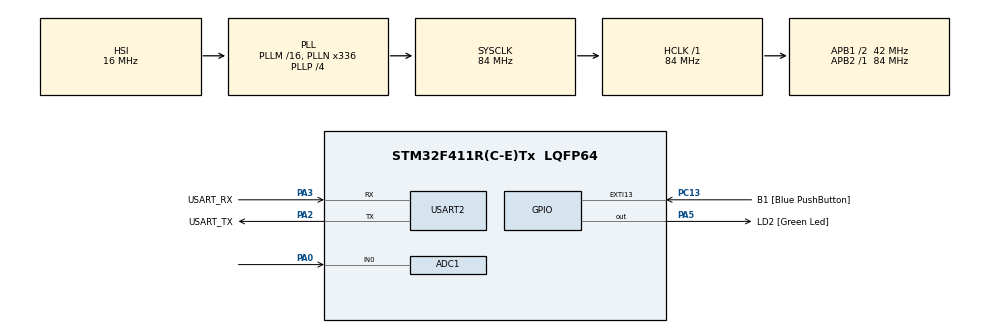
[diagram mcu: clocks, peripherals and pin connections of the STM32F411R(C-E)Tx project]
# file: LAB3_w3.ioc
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ADC1.Channel-0\#ChannelRegularConversion=ADC_CHANNEL_0
ADC1.NbrOfConversionFlag=1
ADC1.Rank-0\#ChannelRegularConversion=1
ADC1.SamplingTime-0\#ChannelRegularConversion=ADC_SAMPLETIME_3CYCLES
ADC1.master=1
Mcu.Family=STM32F4
Mcu.Name=STM32F411R(C-E)Tx
Mcu.Package=LQFP64
NVIC.PriorityGroup=NVIC_PRIORITYGROUP_0
PA0-WKUP.Signal=ADCx_IN0
PA13.GPIO_Label=TMS
PA13.Mode=Serial_Wire
PA13.Signal=SYS_JTMS-SWDIO
PA14.GPIO_Label=TCK
PA14.Mode=Serial_Wire
PA14.Signal=SYS_JTCK-SWCLK
PA2.GPIO_Label=USART_TX
PA2.Mode=Asynchronous
PA2.Signal=USART2_TX
PA3.GPIO_Label=USART_RX
PA3.Mode=Asynchronous
PA3.Signal=USART2_RX
PA5.GPIO_Label=LD2 [Green Led]
PA5.Signal=GPIO_Output
PB3.GPIO_Label=SWO
PB3.Signal=SYS_JTDO-SWO
PC13-ANTI_TAMP.GPIO_Label=B1 [Blue PushButton]
PC13-ANTI_TAMP.GPIO_ModeDefaultEXTI=GPIO_MODE_IT_FALLING
PC13-ANTI_TAMP.Signal=GPXTI13
PC14-OSC32_IN.Mode=LSE-External-Oscillator
PC14-OSC32_IN.Signal=RCC_OSC32_IN
PC15-OSC32_OUT.Mode=LSE-External-Oscillator
PC15-OSC32_OUT.Signal=RCC_OSC32_OUT
PH0\ -\ OSC_IN.Mode=HSE-External-Clock-Source
PH0\ -\ OSC_IN.Signal=RCC_OSC_IN
PH1\ -\ OSC_OUT.Mode=HSE-External-Clock-Source
PH1\ -\ OSC_OUT.Signal=RCC_OSC_OUT
ProjectManager.HeapSize=0x200
ProjectManager.StackSize=0x400
ProjectManager.TargetToolchain=STM32CubeIDE
RCC.48MHZClocksFreq_Value=84000000
RCC.AHBFreq_Value=84000000
RCC.APB1CLKDivider=RCC_HCLK_DIV2
RCC.APB1Freq_Value=42000000
RCC.APB1TimFreq_Value=84000000
RCC.APB2Freq_Value=84000000
RCC.APB2TimFreq_Value=84000000
RCC.CortexFreq_Value=84000000
RCC.FLatency-AdvancedSettings=FLASH_LATENCY_2
RCC.HCLKFreq_Value=84000000
RCC.HSE_VALUE=8000000
RCC.HSI_VALUE=16000000
RCC.PLLN=336
RCC.PLLP=RCC_PLLP_DIV4
RCC.SYSCLKFreq_VALUE=84000000
RCC.SYSCLKSource=RCC_SYSCLKSOURCE_PLLCLK
RCC.VCOOutputFreq_Value=336000000
SH.ADCx_IN0.0=ADC1_IN0,IN0
USART2.VirtualMode=VM_ASYNC
VP_ADC1_TempSens_Input.Mode=IN-TempSens
board=NUCLEO-F411RE

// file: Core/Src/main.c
/* USER CODE BEGIN Header */
/**
 ******************************************************************************
 * @file           : main.c
 * @brief          : Main program body
 ******************************************************************************
 * @attention
 *
 * <h2><center>&copy; Copyright (c) 2021 STMicroelectronics.
 * All rights reserved.</center></h2>
 *
 * This software component is licensed by ST under BSD 3-Clause license,
 * the "License"; You may not use this file except in compliance with the
 * License. You may obtain a copy of the License at:
 *                        opensource.org/licenses/BSD-3-Clause
 *
 ******************************************************************************
 */
/* USER CODE END Header */
#include "main.h"

ADC_HandleTypeDef hadc1;

UART_HandleTypeDef huart2;

/* USER CODE BEGIN PV */
uint32_t adcdata[2] = { 0 };
int ADCMODE =0;
float tp;
float temperature;
float ADCOutputConverted ;
typedef struct {
	ADC_ChannelConfTypeDef Config;
	uint32_t data;
} ADCStructure;

ADCStructure ADCChannel[2] = { 0 };
/* USER CODE END PV */

void SystemClock_Config(void);
static void MX_GPIO_Init(void);
static void MX_USART2_UART_Init(void);
static void MX_ADC1_Init(void);
/* USER CODE BEGIN PFP */
void ADCPollingMethodInit();
void ADCPollingMethodUpdate();
/* USER CODE END PFP */

int main(void)
{

  /* MCU Configuration--------------------------------------------------------*/

  /* Reset of all peripherals, Initializes the Flash interface and the Systick. */
  HAL_Init();

  /* Configure the system clock */
  SystemClock_Config();

  /* Initialize all configured peripherals */
  MX_GPIO_Init();
  MX_USART2_UART_Init();
  MX_ADC1_Init();
  /* USER CODE BEGIN 2 */
  	GPIO_PinState State[2];
	ADCPollingMethodInit();

  /* USER CODE END 2 */

  /* Infinite loop */
	while (1) {

    /* USER CODE BEGIN 3 */
		ADCPollingMethodUpdate();
		State[0] = HAL_GPIO_ReadPin(GPIOC, GPIO_PIN_13);
				if (State[1] == GPIO_PIN_SET && State[0] == GPIO_PIN_RESET) {
				   if(ADCMODE == 0){
					   ADCMODE = 1;
				   }else{
					   ADCMODE = 0;
				   }
			}State[1] = State[0];
		if(ADCMODE==0){
			ADCOutputConverted = ADCChannel[0].data*0.805;
		}else{
			tp = ADCChannel[1].data*0.805;
			temperature = ((tp-760)/2.5)+25;
			ADCOutputConverted = temperature;
		}
	}
  /* USER CODE END 3 */
}

void SystemClock_Config(void)
{
  RCC_OscInitTypeDef RCC_OscInitStruct = {0};
  RCC_ClkInitTypeDef RCC_ClkInitStruct = {0};

  /** Configure the main internal regulator output voltage
  */
  __HAL_RCC_PWR_CLK_ENABLE();
  __HAL_PWR_VOLTAGESCALING_CONFIG(PWR_REGULATOR_VOLTAGE_SCALE1);
  /** Initializes the RCC Oscillators according to the specified parameters
  * in the RCC_OscInitTypeDef structure.
  */
  RCC_OscInitStruct.OscillatorType = RCC_OSCILLATORTYPE_HSI;
  RCC_OscInitStruct.HSIState = RCC_HSI_ON;
  RCC_OscInitStruct.HSICalibrationValue = RCC_HSICALIBRATION_DEFAULT;
  RCC_OscInitStruct.PLL.PLLState = RCC_PLL_ON;
  RCC_OscInitStruct.PLL.PLLSource = RCC_PLLSOURCE_HSI;
  RCC_OscInitStruct.PLL.PLLM = 16;
  RCC_OscInitStruct.PLL.PLLN = 336;
  RCC_OscInitStruct.PLL.PLLP = RCC_PLLP_DIV4;
  RCC_OscInitStruct.PLL.PLLQ = 4;
  if (HAL_RCC_OscConfig(&RCC_OscInitStruct) != HAL_OK)
  {
    Error_Handler();
  }
  /** Initializes the CPU, AHB and APB buses clocks
  */
  RCC_ClkInitStruct.ClockType = RCC_CLOCKTYPE_HCLK|RCC_CLOCKTYPE_SYSCLK
                              |RCC_CLOCKTYPE_PCLK1|RCC_CLOCKTYPE_PCLK2;
  RCC_ClkInitStruct.SYSCLKSource = RCC_SYSCLKSOURCE_PLLCLK;
  RCC_ClkInitStruct.AHBCLKDivider = RCC_SYSCLK_DIV1;
  RCC_ClkInitStruct.APB1CLKDivider = RCC_HCLK_DIV2;
  RCC_ClkInitStruct.APB2CLKDivider = RCC_HCLK_DIV1;

  if (HAL_RCC_ClockConfig(&RCC_ClkInitStruct, FLASH_LATENCY_2) != HAL_OK)
  {
    Error_Handler();
  }
}

static void MX_ADC1_Init(void)
{

  ADC_ChannelConfTypeDef sConfig = {0};

  /** Configure the global features of the ADC (Clock, Resolution, Data Alignment and number of conversion)
  */
  hadc1.Instance = ADC1;
  hadc1.Init.ClockPrescaler = ADC_CLOCK_SYNC_PCLK_DIV4;
  hadc1.Init.Resolution = ADC_RESOLUTION_12B;
  hadc1.Init.ScanConvMode = DISABLE;
  hadc1.Init.ContinuousConvMode = DISABLE;
  hadc1.Init.DiscontinuousConvMode = DISABLE;
  hadc1.Init.ExternalTrigConvEdge = ADC_EXTERNALTRIGCONVEDGE_NONE;
  hadc1.Init.ExternalTrigConv = ADC_SOFTWARE_START;
  hadc1.Init.DataAlign = ADC_DATAALIGN_RIGHT;
  hadc1.Init.NbrOfConversion = 1;
  hadc1.Init.DMAContinuousRequests = DISABLE;
  hadc1.Init.EOCSelection = ADC_EOC_SINGLE_CONV;
  if (HAL_ADC_Init(&hadc1) != HAL_OK)
  {
    Error_Handler();
  }
  /** Configure for the selected ADC regular channel its corresponding rank in the sequencer and its sample time.
  */
  sConfig.Channel = ADC_CHANNEL_TEMPSENSOR;
  sConfig.Rank = 1;
  sConfig.SamplingTime = ADC_SAMPLETIME_3CYCLES;
  if (HAL_ADC_ConfigChannel(&hadc1, &sConfig) != HAL_OK)
  {
    Error_Handler();
  }

}

static void MX_USART2_UART_Init(void)
{

  huart2.Instance = USART2;
  huart2.Init.BaudRate = 115200;
  huart2.Init.WordLength = UART_WORDLENGTH_8B;
  huart2.Init.StopBits = UART_STOPBITS_1;
  huart2.Init.Parity = UART_PARITY_NONE;
  huart2.Init.Mode = UART_MODE_TX_RX;
  huart2.Init.HwFlowCtl = UART_HWCONTROL_NONE;
  huart2.Init.OverSampling = UART_OVERSAMPLING_16;
  if (HAL_UART_Init(&huart2) != HAL_OK)
  {
    Error_Handler();
  }

}

static void MX_GPIO_Init(void)
{
  GPIO_InitTypeDef GPIO_InitStruct = {0};

  /* GPIO Ports Clock Enable */
  __HAL_RCC_GPIOC_CLK_ENABLE();
  __HAL_RCC_GPIOH_CLK_ENABLE();
  __HAL_RCC_GPIOA_CLK_ENABLE();
  __HAL_RCC_GPIOB_CLK_ENABLE();

  /*Configure GPIO pin Output Level */
  HAL_GPIO_WritePin(LD2_GPIO_Port, LD2_Pin, GPIO_PIN_RESET);

  /*Configure GPIO pin : B1_Pin */
  GPIO_InitStruct.Pin = B1_Pin;
  GPIO_InitStruct.Mode = GPIO_MODE_IT_FALLING;
  GPIO_InitStruct.Pull = GPIO_NOPULL;
  HAL_GPIO_Init(B1_GPIO_Port, &GPIO_InitStruct);

  /*Configure GPIO pin : LD2_Pin */
  GPIO_InitStruct.Pin = LD2_Pin;
  GPIO_InitStruct.Mode = GPIO_MODE_OUTPUT_PP;
  GPIO_InitStruct.Pull = GPIO_NOPULL;
  GPIO_InitStruct.Speed = GPIO_SPEED_FREQ_LOW;
  HAL_GPIO_Init(LD2_GPIO_Port, &GPIO_InitStruct);

}

/* USER CODE BEGIN 4 */
void ADCPollingMethodInit() {
	//config all ADC Channel
	ADCChannel[0].Config.Channel = ADC_CHANNEL_0;
	ADCChannel[0].Config.Rank = 1;
	ADCChannel[0].Config.SamplingTime = ADC_SAMPLETIME_3CYCLES;

	ADCChannel[1].Config.Channel = ADC_CHANNEL_TEMPSENSOR;
	ADCChannel[1].Config.Rank = 1;
	ADCChannel[1].Config.SamplingTime = ADC_SAMPLETIME_3CYCLES;
}
//Polling Method
void ADCPollingMethodUpdate() {
	//Read all 3 Channel
	for (int i = 0; i < 2; i++) {
		HAL_ADC_ConfigChannel(&hadc1, &ADCChannel[i].Config);
		HAL_ADC_Start(&hadc1);//start
		if(HAL_ADC_PollForConversion(&hadc1, 10)==HAL_OK){
			ADCChannel[i].data = HAL_ADC_GetValue(&hadc1);//Get value
		}
		HAL_ADC_Stop(&hadc1);//stop
	}
}
/* USER CODE END 4 */

void Error_Handler(void)
{
	__disable_irq();
	while (1) {
	}
}

/************************ (C) COPYRIGHT STMicroelectronics *****END OF FILE****/
